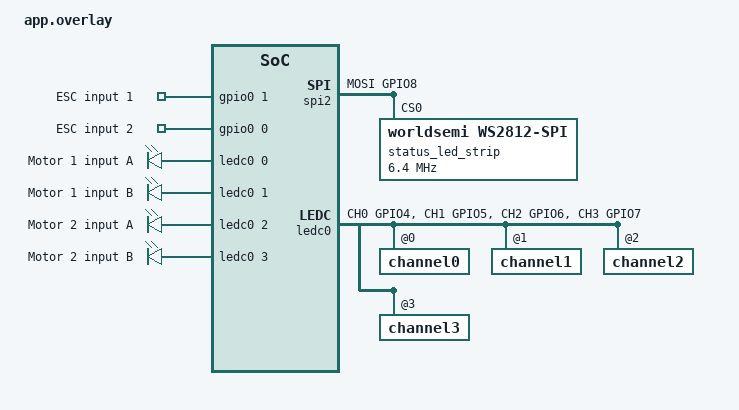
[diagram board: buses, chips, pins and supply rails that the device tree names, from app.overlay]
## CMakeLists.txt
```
cmake_minimum_required(VERSION 3.20.0)

find_package(Zephyr REQUIRED HINTS $ENV{ZEPHYR_BASE})
project(cyberbrick_esc)

target_include_directories(app PRIVATE include)
target_sources(app PRIVATE
  src/main.c
  src/motor_output.c
  src/pwm_input.c
  src/safety.c
  src/status_led.c
)
```

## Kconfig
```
menu "CyberBrick ESC"

config CYBERBRICK_ESC
	bool "CyberBrick ESC firmware"
	default y
	select GPIO
	select LED_STRIP if CYBERBRICK_ESC_STATUS_LED
	select PWM
	help
	  Zephyr-native bidirectional brushed ESC firmware for CyberBrick
	  ESP32-C3 hardware.

config CYBERBRICK_ESC_STATUS_LED
	bool "RGB status LED motor feedback"
	default y
	help
	  Drive the board RGB LED as proof-of-concept visual feedback for
	  the final safe motor commands.

config CYBERBRICK_ESC_STATUS_LED_NEUTRAL_BRIGHTNESS
	int "Neutral blue status LED brightness"
	default 32
	range 1 255
	depends on CYBERBRICK_ESC_STATUS_LED

config CYBERBRICK_ESC_STATUS_LED_MIN_ACTIVE_BRIGHTNESS
	int "Minimum moving status LED brightness"
	default 16
	range 1 255
	depends on CYBERBRICK_ESC_STATUS_LED

config CYBERBRICK_ESC_INPUT_TIMEOUT_MS
	int "Input failsafe timeout in milliseconds"
	default 150
	range 20 1000

config CYBERBRICK_ESC_ARMING_TIME_MS
	int "Neutral arming time in milliseconds"
	default 1000
	range 0 5000

config CYBERBRICK_ESC_MIN_VALID_US
	int "Minimum valid input pulse width in microseconds"
	default 900
	range 500 1500

config CYBERBRICK_ESC_MAX_VALID_US
	int "Maximum valid input pulse width in microseconds"
	default 2100
	range 1500 2500

config CYBERBRICK_ESC_MIN_COMMAND_US
	int "Full reverse command pulse width in microseconds"
	default 1000
	range 500 1500

config CYBERBRICK_ESC_NEUTRAL_US
	int "Neutral command pulse width in microseconds"
	default 1500
	range 1000 2000

config CYBERBRICK_ESC_MAX_COMMAND_US
	int "Full forward command pulse width in microseconds"
	default 2000
	range 1500 2500

config CYBERBRICK_ESC_DEADBAND_US
	int "Neutral deadband on each side of neutral in microseconds"
	default 50
	range 0 200

config CYBERBRICK_ESC_CONTROL_LOOP_HZ
	int "Control loop rate in Hz"
	default 200
	range 10 1000

config CYBERBRICK_ESC_OUTPUT_PWM_HZ
	int "Motor output PWM frequency in Hz"
	default 1000
	range 100 40000

choice CYBERBRICK_ESC_STOP_MODE
	prompt "Stop mode"
	default CYBERBRICK_ESC_STOP_MODE_COAST

config CYBERBRICK_ESC_STOP_MODE_COAST
	bool "Coast"

config CYBERBRICK_ESC_STOP_MODE_BRAKE
	bool "Brake"

endchoice

config CYBERBRICK_ESC_MOTOR1_INVERT
	bool "Invert motor 1 physical polarity"
	default n

config CYBERBRICK_ESC_MOTOR2_INVERT
	bool "Invert motor 2 physical polarity"
	default n

config CYBERBRICK_ESC_MOTOR1_MAX_FORWARD_PERMILLE
	int "Motor 1 maximum forward output in permille"
	default 1000
	range 0 1000

config CYBERBRICK_ESC_MOTOR1_MAX_REVERSE_PERMILLE
	int "Motor 1 maximum reverse output in permille"
	default 1000
	range 0 1000

config CYBERBRICK_ESC_MOTOR2_MAX_FORWARD_PERMILLE
	int "Motor 2 maximum forward output in permille"
	default 1000
	range 0 1000

config CYBERBRICK_ESC_MOTOR2_MAX_REVERSE_PERMILLE
	int "Motor 2 maximum reverse output in permille"
	default 1000
	range 0 1000

endmenu

source "Kconfig.zephyr"
```

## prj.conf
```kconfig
CONFIG_CYBERBRICK_ESC=y
CONFIG_GPIO=y
CONFIG_PWM=y
CONFIG_LOG=y
CONFIG_LOG_DEFAULT_LEVEL=3
CONFIG_MAIN_STACK_SIZE=2048
```

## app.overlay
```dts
#include <zephyr/dt-bindings/gpio/gpio.h>
#include <zephyr/dt-bindings/led/led.h>
#include <zephyr/dt-bindings/pinctrl/esp32c3-pinctrl.h>
#include <zephyr/dt-bindings/pwm/pwm.h>

/ {
	aliases {
		esc-input-1 = &esc_input1;
		esc-input-2 = &esc_input2;
		motor-1-a = &motor1_a;
		motor-1-b = &motor1_b;
		motor-2-a = &motor2_a;
		motor-2-b = &motor2_b;
		led-strip = &status_led_strip;
	};

	cyberbrick_esc_inputs {
		compatible = "gpio-keys";

		esc_input1: esc_input_1 {
			gpios = <&gpio0 1 GPIO_ACTIVE_HIGH>;
			label = "ESC input 1";
		};

		esc_input2: esc_input_2 {
			gpios = <&gpio0 0 GPIO_ACTIVE_HIGH>;
			label = "ESC input 2";
		};
	};

	cyberbrick_esc_motors {
		compatible = "pwm-leds";

		motor1_a: motor_1_a {
			pwms = <&ledc0 0 PWM_USEC(1000) PWM_POLARITY_NORMAL>;
			label = "Motor 1 input A";
		};

		motor1_b: motor_1_b {
			pwms = <&ledc0 1 PWM_USEC(1000) PWM_POLARITY_NORMAL>;
			label = "Motor 1 input B";
		};

		motor2_a: motor_2_a {
			pwms = <&ledc0 2 PWM_USEC(1000) PWM_POLARITY_NORMAL>;
			label = "Motor 2 input A";
		};

		motor2_b: motor_2_b {
			pwms = <&ledc0 3 PWM_USEC(1000) PWM_POLARITY_NORMAL>;
			label = "Motor 2 input B";
		};
	};
};

&pinctrl {
	spim2_default: spim2_default {
		group2 {
			pinmux = <SPIM2_MOSI_GPIO8>;
			output-low;
		};
	};

	ledc0_motors: ledc0_motors {
		group1 {
			pinmux = <LEDC_CH0_GPIO4>,
				 <LEDC_CH1_GPIO5>,
				 <LEDC_CH2_GPIO6>,
				 <LEDC_CH3_GPIO7>;
			output-enable;
		};
	};
};

&spi2 {
	line-idle-low;
	pinctrl-0 = <&spim2_default>;
	pinctrl-names = "default";
	status = "okay";

	status_led_strip: ws2812@0 {
		compatible = "worldsemi,ws2812-spi";
		reg = <0>;
		spi-max-frequency = <6400000>;
		chain-length = <1>;
		spi-cpha;
		spi-one-frame = <0xf0>;
		spi-zero-frame = <0xc0>;
		color-mapping = <LED_COLOR_ID_GREEN
				 LED_COLOR_ID_RED
				 LED_COLOR_ID_BLUE>;
	};
};

&ledc0 {
	status = "okay";
	pinctrl-0 = <&ledc0_motors>;
	pinctrl-names = "default";
	#address-cells = <1>;
	#size-cells = <0>;

	channel0@0 {
		reg = <0>;
		timer = <0>;
	};

	channel1@1 {
		reg = <1>;
		timer = <0>;
	};

	channel2@2 {
		reg = <2>;
		timer = <0>;
	};

	channel3@3 {
		reg = <3>;
		timer = <0>;
	};
};
```

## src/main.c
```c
#include <stdint.h>

#include <zephyr/kernel.h>
#include <zephyr/logging/log.h>

#include <cyberbrick_esc/motor_output.h>
#include <cyberbrick_esc/pwm_input.h>
#include <cyberbrick_esc/safety.h>
#include <cyberbrick_esc/status_led.h>

LOG_MODULE_REGISTER(cyberbrick_esc, LOG_LEVEL_INF);

BUILD_ASSERT(CONFIG_CYBERBRICK_ESC_CONTROL_LOOP_HZ > 0,
	     "Control loop rate must be positive");

static const struct cyberbrick_esc_safety_config safety_config = {
	.input_timeout_us = CONFIG_CYBERBRICK_ESC_INPUT_TIMEOUT_MS * 1000U,
	.arming_time_us = CONFIG_CYBERBRICK_ESC_ARMING_TIME_MS * 1000U,
	.min_valid_us = CONFIG_CYBERBRICK_ESC_MIN_VALID_US,
	.max_valid_us = CONFIG_CYBERBRICK_ESC_MAX_VALID_US,
	.min_command_us = CONFIG_CYBERBRICK_ESC_MIN_COMMAND_US,
	.neutral_us = CONFIG_CYBERBRICK_ESC_NEUTRAL_US,
	.max_command_us = CONFIG_CYBERBRICK_ESC_MAX_COMMAND_US,
	.deadband_us = CONFIG_CYBERBRICK_ESC_DEADBAND_US,
};

static uint32_t control_loop_sleep_ms(void)
{
	uint32_t sleep_ms = 1000U / CONFIG_CYBERBRICK_ESC_CONTROL_LOOP_HZ;

	return sleep_ms == 0U ? 1U : sleep_ms;
}

int main(void)
{
	struct cyberbrick_esc_safety safety;
	struct cyberbrick_esc_pulse_sample samples[CYBERBRICK_ESC_CHANNEL_COUNT];
	struct cyberbrick_esc_safety_output output;
	bool last_armed = false;
	bool last_failsafe = false;
	bool status_led_ready = false;
	int ret;

	LOG_INF("CyberBrick ESC boot");

	cyberbrick_esc_safety_init(&safety);

	ret = cyberbrick_esc_status_led_init();
	if (ret != 0) {
		LOG_WRN("Status LED init failed: %d", ret);
	} else {
		status_led_ready = true;
	}

	ret = cyberbrick_esc_motor_output_init();
	if (ret != 0) {
		(void)cyberbrick_esc_motor_output_stop();
		if (status_led_ready) {
			(void)cyberbrick_esc_status_led_show_neutral();
		}
		LOG_ERR("Motor output init failed: %d", ret);
		return ret;
	}

	ret = cyberbrick_esc_pwm_input_init();
	if (ret != 0) {
		(void)cyberbrick_esc_motor_output_stop();
		if (status_led_ready) {
			(void)cyberbrick_esc_status_led_show_neutral();
		}
		LOG_ERR("PWM input init failed: %d", ret);
		return ret;
	}

	LOG_INF("Waiting for neutral input before arming");

	while (true) {
		cyberbrick_esc_pwm_input_get_samples(samples);
		cyberbrick_esc_safety_update(&safety, &safety_config, samples,
					     k_uptime_get() * 1000LL, &output);

		ret = cyberbrick_esc_motor_output_apply(output.command);
		if (ret != 0) {
			(void)cyberbrick_esc_motor_output_stop();
			if (status_led_ready) {
				(void)cyberbrick_esc_status_led_show_neutral();
			}
			LOG_ERR("Motor output apply failed: %d", ret);
		} else if (status_led_ready) {
			ret = cyberbrick_esc_status_led_update(output.command);
			if (ret != 0) {
				LOG_WRN("Status LED update failed: %d", ret);
				status_led_ready = false;
			}
		}

		if (output.armed != last_armed || output.failsafe != last_failsafe) {
			LOG_INF("state armed=%d failsafe=%d", output.armed,
				output.failsafe);
			last_armed = output.armed;
			last_failsafe = output.failsafe;
		}

		k_msleep(control_loop_sleep_ms());
	}

	return 0;
}
```

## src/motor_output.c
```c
#include <errno.h>
#include <stddef.h>

#include <zephyr/device.h>
#include <zephyr/devicetree.h>
#include <zephyr/drivers/pwm.h>
#include <zephyr/kernel.h>

#include <cyberbrick_esc/motor_output.h>

#ifndef CONFIG_CYBERBRICK_ESC_OUTPUT_PWM_HZ
#define CONFIG_CYBERBRICK_ESC_OUTPUT_PWM_HZ 1000
#endif

#ifndef CONFIG_CYBERBRICK_ESC_MOTOR1_MAX_FORWARD_PERMILLE
#define CONFIG_CYBERBRICK_ESC_MOTOR1_MAX_FORWARD_PERMILLE 1000
#endif

#ifndef CONFIG_CYBERBRICK_ESC_MOTOR1_MAX_REVERSE_PERMILLE
#define CONFIG_CYBERBRICK_ESC_MOTOR1_MAX_REVERSE_PERMILLE 1000
#endif

#ifndef CONFIG_CYBERBRICK_ESC_MOTOR2_MAX_FORWARD_PERMILLE
#define CONFIG_CYBERBRICK_ESC_MOTOR2_MAX_FORWARD_PERMILLE 1000
#endif

#ifndef CONFIG_CYBERBRICK_ESC_MOTOR2_MAX_REVERSE_PERMILLE
#define CONFIG_CYBERBRICK_ESC_MOTOR2_MAX_REVERSE_PERMILLE 1000
#endif

#define MOTOR_OUTPUT_HAS_DT (DT_NODE_EXISTS(DT_ALIAS(motor_1_a)) && \
			     DT_NODE_EXISTS(DT_ALIAS(motor_1_b)) && \
			     DT_NODE_EXISTS(DT_ALIAS(motor_2_a)) && \
			     DT_NODE_EXISTS(DT_ALIAS(motor_2_b)))

static int16_t clamp_command(int16_t command)
{
	if (command > CYBERBRICK_ESC_COMMAND_MAX) {
		return CYBERBRICK_ESC_COMMAND_MAX;
	}

	if (command < CYBERBRICK_ESC_COMMAND_MIN) {
		return CYBERBRICK_ESC_COMMAND_MIN;
	}

	return command;
}

static uint16_t clamp_permille(uint16_t value)
{
	if (value > 1000U) {
		return 1000U;
	}

	return value;
}

void cyberbrick_esc_motor_make_state(int16_t command,
				     const struct cyberbrick_esc_motor_config *config,
				     struct cyberbrick_esc_motor_state *state)
{
	int32_t physical_command;
	uint16_t duty_permille;

	if (config == NULL || state == NULL) {
		return;
	}

	physical_command = clamp_command(command);
	if (config->inverted) {
		physical_command = -physical_command;
	}

	if (physical_command == CYBERBRICK_ESC_COMMAND_NEUTRAL) {
		if (config->stop_mode == CYBERBRICK_ESC_STOP_MODE_BRAKE) {
			state->input_a.mode = CYBERBRICK_ESC_PIN_HIGH;
			state->input_b.mode = CYBERBRICK_ESC_PIN_HIGH;
		} else {
			state->input_a.mode = CYBERBRICK_ESC_PIN_LOW;
			state->input_b.mode = CYBERBRICK_ESC_PIN_LOW;
		}
		state->input_a.duty_permille = 0U;
		state->input_b.duty_permille = 0U;
		return;
	}

	if (physical_command > 0) {
		duty_permille = (uint16_t)((physical_command *
					    clamp_permille(config->max_forward_permille)) /
					   CYBERBRICK_ESC_COMMAND_MAX);
		state->input_a.mode = CYBERBRICK_ESC_PIN_PWM;
		state->input_a.duty_permille = duty_permille;
		state->input_b.mode = CYBERBRICK_ESC_PIN_LOW;
		state->input_b.duty_permille = 0U;
	} else {
		duty_permille = (uint16_t)((-physical_command *
					    clamp_permille(config->max_reverse_permille)) /
					   CYBERBRICK_ESC_COMMAND_MAX);
		state->input_a.mode = CYBERBRICK_ESC_PIN_LOW;
		state->input_a.duty_permille = 0U;
		state->input_b.mode = CYBERBRICK_ESC_PIN_PWM;
		state->input_b.duty_permille = duty_permille;
	}
}

#define CONFIGURED_STOP_MODE \
	(IS_ENABLED(CONFIG_CYBERBRICK_ESC_STOP_MODE_BRAKE) ? \
	 CYBERBRICK_ESC_STOP_MODE_BRAKE : CYBERBRICK_ESC_STOP_MODE_COAST)

static const struct cyberbrick_esc_motor_config motor_configs[CYBERBRICK_ESC_CHANNEL_COUNT] = {
	{
		.inverted = IS_ENABLED(CONFIG_CYBERBRICK_ESC_MOTOR1_INVERT),
		.max_forward_permille = CONFIG_CYBERBRICK_ESC_MOTOR1_MAX_FORWARD_PERMILLE,
		.max_reverse_permille = CONFIG_CYBERBRICK_ESC_MOTOR1_MAX_REVERSE_PERMILLE,
		.stop_mode = CONFIGURED_STOP_MODE,
	},
	{
		.inverted = IS_ENABLED(CONFIG_CYBERBRICK_ESC_MOTOR2_INVERT),
		.max_forward_permille = CONFIG_CYBERBRICK_ESC_MOTOR2_MAX_FORWARD_PERMILLE,
		.max_reverse_permille = CONFIG_CYBERBRICK_ESC_MOTOR2_MAX_REVERSE_PERMILLE,
		.stop_mode = CONFIGURED_STOP_MODE,
	},
};

#if MOTOR_OUTPUT_HAS_DT
static const struct pwm_dt_spec motor_pwms[CYBERBRICK_ESC_CHANNEL_COUNT][2] = {
	{
		PWM_DT_SPEC_GET(DT_ALIAS(motor_1_a)),
		PWM_DT_SPEC_GET(DT_ALIAS(motor_1_b)),
	},
	{
		PWM_DT_SPEC_GET(DT_ALIAS(motor_2_a)),
		PWM_DT_SPEC_GET(DT_ALIAS(motor_2_b)),
	},
};
#endif

static uint32_t output_period_ns(void)
{
	return NSEC_PER_SEC / CONFIG_CYBERBRICK_ESC_OUTPUT_PWM_HZ;
}

#if MOTOR_OUTPUT_HAS_DT
static int apply_pin_drive(const struct pwm_dt_spec *pwm,
			   const struct cyberbrick_esc_pin_drive *drive)
{
	uint32_t period_ns = output_period_ns();
	uint32_t pulse_ns;

	switch (drive->mode) {
	case CYBERBRICK_ESC_PIN_HIGH:
		pulse_ns = period_ns;
		break;
	case CYBERBRICK_ESC_PIN_PWM:
		pulse_ns = (period_ns * drive->duty_permille) / 1000U;
		break;
	case CYBERBRICK_ESC_PIN_LOW:
	default:
		pulse_ns = 0U;
		break;
	}

	return pwm_set_dt(pwm, period_ns, pulse_ns);
}

static int apply_motor_state(size_t index,
			     const struct cyberbrick_esc_motor_state *state)
{
	int ret;

	ret = apply_pin_drive(&motor_pwms[index][0], &state->input_a);
	if (ret != 0) {
		return ret;
	}

	return apply_pin_drive(&motor_pwms[index][1], &state->input_b);
}
#endif

int cyberbrick_esc_motor_output_init(void)
{
#if MOTOR_OUTPUT_HAS_DT
	for (size_t motor = 0; motor < CYBERBRICK_ESC_CHANNEL_COUNT; motor++) {
		for (size_t input = 0; input < 2; input++) {
			if (!pwm_is_ready_dt(&motor_pwms[motor][input])) {
				return -ENODEV;
			}
		}
	}
#endif

	return cyberbrick_esc_motor_output_stop();
}

int cyberbrick_esc_motor_output_apply(const int16_t command[CYBERBRICK_ESC_CHANNEL_COUNT])
{
	struct cyberbrick_esc_motor_state state;
	int16_t safe_command[CYBERBRICK_ESC_CHANNEL_COUNT] = { 0 };

	if (command != NULL) {
		for (size_t i = 0; i < CYBERBRICK_ESC_CHANNEL_COUNT; i++) {
			safe_command[i] = clamp_command(command[i]);
		}
	}

	for (size_t i = 0; i < CYBERBRICK_ESC_CHANNEL_COUNT; i++) {
		cyberbrick_esc_motor_make_state(safe_command[i], &motor_configs[i],
						&state);
#if MOTOR_OUTPUT_HAS_DT
		int ret = apply_motor_state(i, &state);

		if (ret != 0) {
			return ret;
		}
#endif
	}

	return 0;
}

int cyberbrick_esc_motor_output_stop(void)
{
	int16_t command[CYBERBRICK_ESC_CHANNEL_COUNT] = { 0 };

	return cyberbrick_esc_motor_output_apply(command);
}
```

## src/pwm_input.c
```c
#include <errno.h>
#include <stddef.h>
#include <stdint.h>

#include <zephyr/devicetree.h>
#include <zephyr/drivers/gpio.h>
#include <zephyr/irq.h>
#include <zephyr/kernel.h>
#include <zephyr/sys/util.h>

#include <cyberbrick_esc/pwm_input.h>

#define ESC_INPUT1_NODE DT_ALIAS(esc_input_1)
#define ESC_INPUT2_NODE DT_ALIAS(esc_input_2)

BUILD_ASSERT(DT_NODE_EXISTS(ESC_INPUT1_NODE), "esc-input-1 devicetree alias is required");
BUILD_ASSERT(DT_NODE_EXISTS(ESC_INPUT2_NODE), "esc-input-2 devicetree alias is required");

struct pwm_input_channel {
	const struct gpio_dt_spec gpio;
	struct gpio_callback callback;
	uint32_t rising_cycle;
	bool rising_seen;
	struct cyberbrick_esc_pulse_sample sample;
};

static struct pwm_input_channel channels[CYBERBRICK_ESC_CHANNEL_COUNT] = {
	{
		.gpio = GPIO_DT_SPEC_GET(ESC_INPUT1_NODE, gpios),
	},
	{
		.gpio = GPIO_DT_SPEC_GET(ESC_INPUT2_NODE, gpios),
	},
};

static bool pulse_width_valid(uint32_t pulse_width_us)
{
	return pulse_width_us >= CONFIG_CYBERBRICK_ESC_MIN_VALID_US &&
	       pulse_width_us <= CONFIG_CYBERBRICK_ESC_MAX_VALID_US;
}

static void pwm_input_callback(const struct device *port,
			       struct gpio_callback *callback, uint32_t pins)
{
	struct pwm_input_channel *channel =
		CONTAINER_OF(callback, struct pwm_input_channel, callback);
	int value;

	ARG_UNUSED(port);
	ARG_UNUSED(pins);

	value = gpio_pin_get_dt(&channel->gpio);
	if (value > 0) {
		channel->rising_cycle = k_cycle_get_32();
		channel->rising_seen = true;
		return;
	}

	if (value == 0 && channel->rising_seen) {
		uint32_t now_cycle = k_cycle_get_32();
		uint32_t pulse_width_us =
			k_cyc_to_us_floor32(now_cycle - channel->rising_cycle);

		channel->rising_seen = false;

		if (pulse_width_valid(pulse_width_us)) {
			channel->sample.pulse_width_us = pulse_width_us;
			channel->sample.timestamp_us = k_uptime_get() * 1000LL;
			channel->sample.valid = true;
		}
	}
}

int cyberbrick_esc_pwm_input_init(void)
{
	for (size_t i = 0; i < CYBERBRICK_ESC_CHANNEL_COUNT; i++) {
		struct pwm_input_channel *channel = &channels[i];
		int ret;

		if (!gpio_is_ready_dt(&channel->gpio)) {
			return -ENODEV;
		}

		ret = gpio_pin_configure_dt(&channel->gpio, GPIO_INPUT);
		if (ret != 0) {
			return ret;
		}

		gpio_init_callback(&channel->callback, pwm_input_callback,
				   BIT(channel->gpio.pin));

		ret = gpio_add_callback(channel->gpio.port, &channel->callback);
		if (ret != 0) {
			return ret;
		}

		ret = gpio_pin_interrupt_configure_dt(&channel->gpio,
						      GPIO_INT_EDGE_BOTH);
		if (ret != 0) {
			return ret;
		}
	}

	return 0;
}

void cyberbrick_esc_pwm_input_get_samples(
	struct cyberbrick_esc_pulse_sample samples[CYBERBRICK_ESC_CHANNEL_COUNT])
{
	unsigned int key;

	if (samples == NULL) {
		return;
	}

	key = irq_lock();
	for (size_t i = 0; i < CYBERBRICK_ESC_CHANNEL_COUNT; i++) {
		samples[i] = channels[i].sample;
	}
	irq_unlock(key);
}
```

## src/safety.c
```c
#include <errno.h>
#include <stddef.h>

#include <cyberbrick_esc/safety.h>

static int16_t clamp_command(int32_t command)
{
	if (command > CYBERBRICK_ESC_COMMAND_MAX) {
		return CYBERBRICK_ESC_COMMAND_MAX;
	}

	if (command < CYBERBRICK_ESC_COMMAND_MIN) {
		return CYBERBRICK_ESC_COMMAND_MIN;
	}

	return (int16_t)command;
}

static bool config_valid(const struct cyberbrick_esc_safety_config *config)
{
	return config != NULL &&
	       config->min_valid_us < config->max_valid_us &&
	       config->min_command_us < config->neutral_us &&
	       config->neutral_us < config->max_command_us &&
	       config->min_valid_us <= config->min_command_us &&
	       config->max_command_us <= config->max_valid_us;
}

static bool sample_fresh(const struct cyberbrick_esc_pulse_sample *sample,
			 int64_t now_us, uint32_t timeout_us)
{
	if (!sample->valid || sample->timestamp_us > now_us) {
		return false;
	}

	return (uint64_t)(now_us - sample->timestamp_us) <= timeout_us;
}

static void set_safe_output(const struct cyberbrick_esc_safety *safety,
			    struct cyberbrick_esc_safety_output *output)
{
	for (size_t i = 0; i < CYBERBRICK_ESC_CHANNEL_COUNT; i++) {
		output->command[i] = CYBERBRICK_ESC_COMMAND_NEUTRAL;
	}

	output->armed = safety->armed;
	output->failsafe = safety->failsafe;
}

void cyberbrick_esc_safety_init(struct cyberbrick_esc_safety *safety)
{
	if (safety == NULL) {
		return;
	}

	safety->armed = false;
	safety->failsafe = false;
	safety->neutral_pending = false;
	safety->neutral_since_us = 0;
}

int cyberbrick_esc_map_pulse_us(const struct cyberbrick_esc_safety_config *config,
				uint32_t pulse_width_us, int16_t *command)
{
	int32_t mapped;

	if (!config_valid(config) || command == NULL) {
		return -EINVAL;
	}

	if (pulse_width_us < config->min_valid_us ||
	    pulse_width_us > config->max_valid_us) {
		return -EINVAL;
	}

	if (pulse_width_us <= config->min_command_us) {
		*command = CYBERBRICK_ESC_COMMAND_MIN;
		return 0;
	}

	if (pulse_width_us >= config->max_command_us) {
		*command = CYBERBRICK_ESC_COMMAND_MAX;
		return 0;
	}

	if (pulse_width_us >= config->neutral_us - config->deadband_us &&
	    pulse_width_us <= config->neutral_us + config->deadband_us) {
		*command = CYBERBRICK_ESC_COMMAND_NEUTRAL;
		return 0;
	}

	if (pulse_width_us < config->neutral_us) {
		uint32_t span_us = config->neutral_us - config->min_command_us;
		uint32_t delta_us = config->neutral_us - pulse_width_us;

		mapped = -((int32_t)((delta_us * CYBERBRICK_ESC_COMMAND_MAX) +
				     (span_us / 2U)) /
			   (int32_t)span_us);
	} else {
		uint32_t span_us = config->max_command_us - config->neutral_us;
		uint32_t delta_us = pulse_width_us - config->neutral_us;

		mapped = (int32_t)((delta_us * CYBERBRICK_ESC_COMMAND_MAX) +
				   (span_us / 2U)) /
			 (int32_t)span_us;
	}

	*command = clamp_command(mapped);
	return 0;
}

void cyberbrick_esc_safety_update(struct cyberbrick_esc_safety *safety,
				  const struct cyberbrick_esc_safety_config *config,
				  const struct cyberbrick_esc_pulse_sample samples[CYBERBRICK_ESC_CHANNEL_COUNT],
				  int64_t now_us,
				  struct cyberbrick_esc_safety_output *output)
{
	int16_t mapped[CYBERBRICK_ESC_CHANNEL_COUNT] = { 0 };
	bool all_fresh = true;
	bool all_neutral = true;

	if (safety == NULL || output == NULL || !config_valid(config) ||
	    samples == NULL) {
		return;
	}

	for (size_t i = 0; i < CYBERBRICK_ESC_CHANNEL_COUNT; i++) {
		if (!sample_fresh(&samples[i], now_us, config->input_timeout_us) ||
		    cyberbrick_esc_map_pulse_us(config, samples[i].pulse_width_us,
						&mapped[i]) != 0) {
			all_fresh = false;
			break;
		}

		if (mapped[i] != CYBERBRICK_ESC_COMMAND_NEUTRAL) {
			all_neutral = false;
		}
	}

	if (!all_fresh) {
		safety->armed = false;
		safety->failsafe = true;
		safety->neutral_pending = false;
		set_safe_output(safety, output);
		return;
	}

	if (!safety->armed) {
		if (all_neutral) {
			if (!safety->neutral_pending) {
				safety->neutral_pending = true;
				safety->neutral_since_us = now_us;
			}

			if ((uint64_t)(now_us - safety->neutral_since_us) >=
			    config->arming_time_us) {
				safety->armed = true;
				safety->failsafe = false;
			}
		} else {
			safety->neutral_pending = false;
		}

		set_safe_output(safety, output);
		return;
	}

	safety->failsafe = false;
	safety->neutral_pending = false;
	for (size_t i = 0; i < CYBERBRICK_ESC_CHANNEL_COUNT; i++) {
		output->command[i] = mapped[i];
	}
	output->armed = true;
	output->failsafe = false;
}
```

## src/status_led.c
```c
#include <errno.h>
#include <stddef.h>

#include <zephyr/device.h>
#include <zephyr/devicetree.h>
#include <zephyr/drivers/led_strip.h>
#include <zephyr/sys/util.h>

#include <cyberbrick_esc/status_led.h>

#if IS_ENABLED(CONFIG_CYBERBRICK_ESC_STATUS_LED) && DT_NODE_EXISTS(DT_ALIAS(led_strip))
#define STATUS_LED_HAS_STRIP 1
#define STATUS_LED_NODE DT_ALIAS(led_strip)
#else
#define STATUS_LED_HAS_STRIP 0
#endif

enum status_led_direction {
	STATUS_LED_DIRECTION_NEUTRAL,
	STATUS_LED_DIRECTION_FORWARD,
	STATUS_LED_DIRECTION_REVERSE,
};

struct status_led_state {
	enum status_led_direction direction;
	uint8_t brightness;
};

static int16_t abs_command(int16_t command)
{
	if (command <= CYBERBRICK_ESC_COMMAND_MIN) {
		return CYBERBRICK_ESC_COMMAND_MAX;
	}

	return command < 0 ? -command : command;
}

static uint8_t active_brightness_from_command(int16_t magnitude)
{
	uint32_t min_brightness = CONFIG_CYBERBRICK_ESC_STATUS_LED_MIN_ACTIVE_BRIGHTNESS;
	uint32_t range = 255U - min_brightness;
	uint32_t brightness;

	magnitude = CLAMP(magnitude, 0, CYBERBRICK_ESC_COMMAND_MAX);
	brightness = min_brightness +
		     (range * (uint32_t)magnitude) / CYBERBRICK_ESC_COMMAND_MAX;

	return (uint8_t)CLAMP(brightness, min_brightness, 255U);
}

static struct status_led_state state_from_commands(
	const int16_t command[CYBERBRICK_ESC_CHANNEL_COUNT])
{
	int16_t forward = 0;
	int16_t reverse = 0;

	if (command == NULL) {
		return (struct status_led_state){
			.direction = STATUS_LED_DIRECTION_NEUTRAL,
			.brightness = CONFIG_CYBERBRICK_ESC_STATUS_LED_NEUTRAL_BRIGHTNESS,
		};
	}

	for (size_t i = 0; i < CYBERBRICK_ESC_CHANNEL_COUNT; i++) {
		if (command[i] > 0) {
			forward = MAX(forward, abs_command(command[i]));
		} else if (command[i] < 0) {
			reverse = MAX(reverse, abs_command(command[i]));
		}
	}

	if (forward > reverse) {
		return (struct status_led_state){
			.direction = STATUS_LED_DIRECTION_FORWARD,
			.brightness = active_brightness_from_command(forward),
		};
	}

	if (reverse > forward) {
		return (struct status_led_state){
			.direction = STATUS_LED_DIRECTION_REVERSE,
			.brightness = active_brightness_from_command(reverse),
		};
	}

	return (struct status_led_state){
		.direction = STATUS_LED_DIRECTION_NEUTRAL,
		.brightness = CONFIG_CYBERBRICK_ESC_STATUS_LED_NEUTRAL_BRIGHTNESS,
	};
}

static int apply_state(struct status_led_state state)
{
#if STATUS_LED_HAS_STRIP
	static const struct device *const strip = DEVICE_DT_GET(STATUS_LED_NODE);
	struct led_rgb pixel = { 0 };

	switch (state.direction) {
	case STATUS_LED_DIRECTION_FORWARD:
		pixel.g = state.brightness;
		break;
	case STATUS_LED_DIRECTION_REVERSE:
		pixel.r = state.brightness;
		break;
	case STATUS_LED_DIRECTION_NEUTRAL:
	default:
		pixel.b = state.brightness;
		break;
	}

	if (!device_is_ready(strip)) {
		return -ENODEV;
	}

	return led_strip_update_rgb(strip, &pixel, 1);
#else
	ARG_UNUSED(state);
	return 0;
#endif
}

int cyberbrick_esc_status_led_init(void)
{
	return cyberbrick_esc_status_led_show_neutral();
}

int cyberbrick_esc_status_led_update(
	const int16_t command[CYBERBRICK_ESC_CHANNEL_COUNT])
{
	return apply_state(state_from_commands(command));
}

int cyberbrick_esc_status_led_show_neutral(void)
{
	return apply_state((struct status_led_state){
		.direction = STATUS_LED_DIRECTION_NEUTRAL,
		.brightness = CONFIG_CYBERBRICK_ESC_STATUS_LED_NEUTRAL_BRIGHTNESS,
	});
}
```
